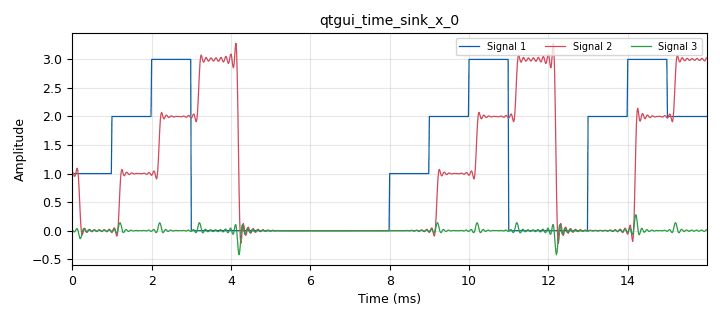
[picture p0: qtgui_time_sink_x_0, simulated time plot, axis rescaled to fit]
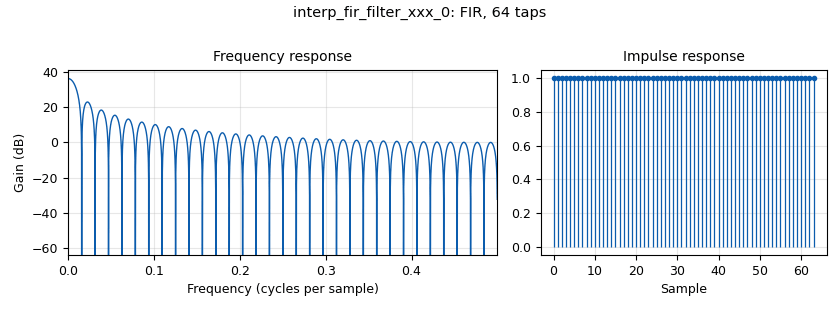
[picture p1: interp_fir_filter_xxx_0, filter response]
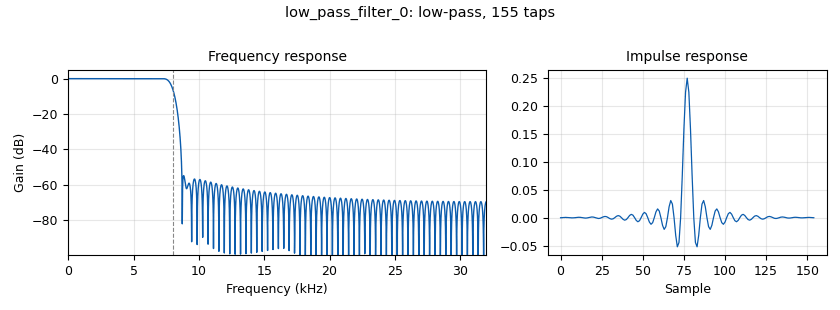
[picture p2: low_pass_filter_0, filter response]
options:
  parameters:
    author: YASH
    generate_options: qt_gui
    id: ask
    output_language: python
    title: Not titled yet
  states: {}

blocks:
- name: delay_var
  id: variable_qtgui_range
  parameters:
    start: '0'
    step: '1'
    stop: '1000'
    value: '0'
  states: {}
- name: samp_rate
  id: variable
  parameters:
    value: '64000'
  states: {}
- name: analog_random_source_x_0
  id: analog_random_source_x
  parameters:
    max: '4'
    min: '0'
    num_samps: '1024'
    repeat: 'True'
    type: int
  states: {}
- name: analog_sig_source_x_0
  id: analog_sig_source_x
  parameters:
    amp: '1.414'
    freq: '8000'
    offset: '0'
    phase: '0'
    samp_rate: samp_rate
    type: float
    waveform: analog.GR_COS_WAVE
  states: {}
- name: analog_sig_source_x_0_0
  id: analog_sig_source_x
  parameters:
    amp: '1.414'
    freq: '8000'
    offset: '0'
    phase: '0'
    samp_rate: samp_rate
    type: float
    waveform: analog.GR_SIN_WAVE
  states: {}
- name: analog_sig_source_x_0_0_0
  id: analog_sig_source_x
  parameters:
    amp: '1.414'
    freq: '8000'
    offset: '0'
    phase: '0'
    samp_rate: samp_rate
    type: float
    waveform: analog.GR_COS_WAVE
  states: {}
- name: blocks_delay_0
  id: blocks_delay
  parameters:
    delay: delay_var
    type: float
  states: {}
- name: blocks_multiply_xx_0
  id: blocks_multiply_xx
  parameters:
    type: float
  states: {}
- name: blocks_multiply_xx_0_0
  id: blocks_multiply_xx
  parameters:
    type: float
  states: {}
- name: blocks_multiply_xx_0_1
  id: blocks_multiply_xx
  parameters:
    type: float
  states: {}
- name: blocks_throttle2_0
  id: blocks_throttle2
  parameters:
    samples_per_second: samp_rate
    type: float
  states: {}
- name: digital_chunks_to_symbols_xx_0
  id: digital_chunks_to_symbols_xx
  parameters:
    dimension: '2'
    in_type: int
    out_type: float
    symbol_table: '[0, 1, 2, 3]'
  states: {}
- name: import_0
  id: import
  parameters:
    imports: import numpy as np
  states: {}
- name: interp_fir_filter_xxx_0
  id: interp_fir_filter_xxx
  parameters:
    interp: '64'
    taps: np.ones(64)
    type: fff
  states: {}
- name: low_pass_filter_0
  id: low_pass_filter
  parameters:
    cutoff_freq: '8000'
    gain: '1'
    interp: '1'
    samp_rate: samp_rate
    type: interp_fir_filter_fff
    width: '1000'
    win: window.WIN_HAMMING
  states: {}
- name: low_pass_filter_0_1
  id: low_pass_filter
  parameters:
    cutoff_freq: '8000'
    gain: '1'
    interp: '1'
    samp_rate: samp_rate
    type: interp_fir_filter_fff
    width: '1000'
    win: window.WIN_HAMMING
  states: {}
- name: qtgui_sink_x_0
  id: qtgui_sink_x
  parameters:
    bw: samp_rate
    fc: '0'
    fftsize: '1024'
    type: float
  states: {state: disabled}
- name: qtgui_time_sink_x_0
  id: qtgui_time_sink_x
  parameters:
    ctrlpanel: 'True'
    nconnections: '3'
    size: '1024'
    srate: samp_rate
    type: float
  states: {}
- name: virtual_sink_0
  id: virtual_sink
  parameters:
    stream_id: out
  states: {}
- name: virtual_source_0
  id: virtual_source
  parameters:
    stream_id: out
  states: {}

connections:
- [analog_random_source_x_0, '0', digital_chunks_to_symbols_xx_0, '0']
- [analog_sig_source_x_0, '0', blocks_multiply_xx_0, '1']
- [analog_sig_source_x_0_0, '0', blocks_multiply_xx_0_1, '1']
- [analog_sig_source_x_0_0_0, '0', blocks_multiply_xx_0_0, '1']
- [blocks_delay_0, '0', qtgui_time_sink_x_0, '0']
- [blocks_multiply_xx_0, '0', blocks_multiply_xx_0_0, '0']
- [blocks_multiply_xx_0, '0', blocks_multiply_xx_0_1, '0']
- [blocks_multiply_xx_0_0, '0', low_pass_filter_0, '0']
- [blocks_multiply_xx_0_1, '0', low_pass_filter_0_1, '0']
- [blocks_throttle2_0, '0', interp_fir_filter_xxx_0, '0']
- [digital_chunks_to_symbols_xx_0, '0', blocks_throttle2_0, '0']
- [interp_fir_filter_xxx_0, '0', blocks_delay_0, '0']
- [interp_fir_filter_xxx_0, '0', qtgui_sink_x_0, '0']
- [interp_fir_filter_xxx_0, '0', virtual_sink_0, '0']
- [low_pass_filter_0, '0', qtgui_time_sink_x_0, '1']
- [low_pass_filter_0_1, '0', qtgui_time_sink_x_0, '2']
- [virtual_source_0, '0', blocks_multiply_xx_0, '0']

metadata:
  file_format: 1
  grc_version: 3.10.7.0
